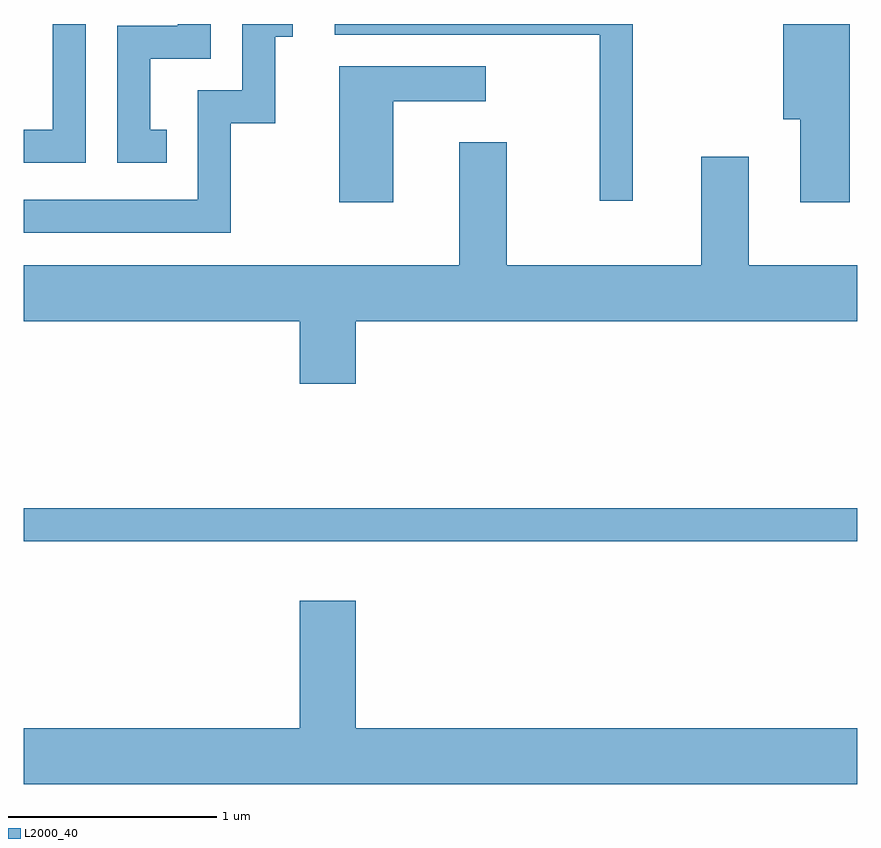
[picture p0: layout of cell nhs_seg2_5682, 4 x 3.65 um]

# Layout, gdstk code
import gdstk
lib = gdstk.Library(unit=1e-6, precision=1e-09)
def R(c, l, rs):  # rectangles x0, y0, x1, y1
    for r in rs: c.add(gdstk.rectangle(r[:2], r[2:], *l))
def P(c, l, *ps):  # polygons
    for p in ps: c.add(gdstk.Polygon(p, *l))
L2000_40 = (2000, 40)

nhs_seg2_5682 = lib.new_cell('nhs_seg2_5682')
R(nhs_seg2_5682, L2000_40, [(353.611,987.321,357.611,987.479)])
P(nhs_seg2_5682, L2000_40, [(354.298,989.294),(354.219,989.294),(354.219,989.636),(354.509,989.636),(354.509,989.802),(354.351,989.802),(354.351,989.794),(354.061,989.794),(354.061,989.136),(354.298,989.136)],
  [(356.534,989.802),(355.103,989.802),(355.103,989.751),(356.376,989.751),(356.376,988.953),(356.534,988.953)],
  [(357.574,989.802),(357.256,989.802),(357.256,989.346),(357.336,989.346),(357.336,988.946),(357.574,988.946)],
  [(353.909,989.802),(353.751,989.802),(353.751,989.294),(353.611,989.294),(353.611,989.136),(353.909,989.136)],
  [(354.604,989.326),(354.819,989.326),(354.819,989.741),(354.903,989.741),(354.903,989.802),(354.661,989.802),(354.661,989.484),(354.446,989.484),(354.446,988.959),(353.611,988.959),(353.611,988.801),(354.604,988.801)],
  [(355.384,989.431),(355.828,989.431),(355.828,989.599),(355.126,989.599),(355.126,988.946),(355.384,988.946)],
  [(355.204,988.376),(357.611,988.376),(357.611,988.644),(357.089,988.644),(357.089,989.164),(356.861,989.164),(356.861,988.644),(355.929,988.644),(355.929,989.234),(355.701,989.234),(355.701,988.644),(353.611,988.644),(353.611,988.376),(354.936,988.376),(354.936,988.076),(355.204,988.076)],
  [(354.936,987.034),(354.936,986.424),(353.611,986.424),(353.611,986.156),(357.611,986.156),(357.611,986.424),(355.204,986.424),(355.204,987.034)])

lib.write_gds('nhs_seg2_5682.gds')
